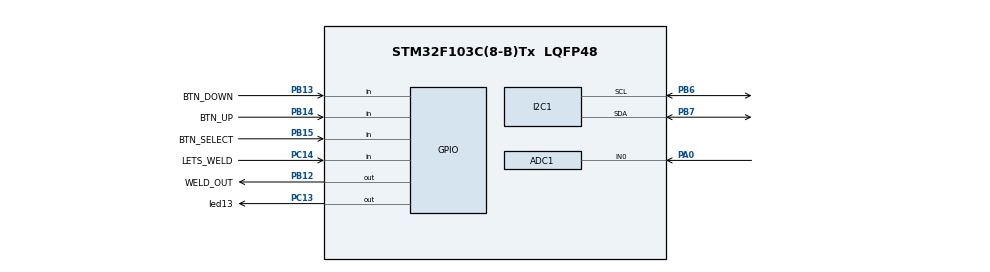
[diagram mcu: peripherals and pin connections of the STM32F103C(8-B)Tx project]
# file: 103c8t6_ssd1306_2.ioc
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ADC1.Channel-0\#ChannelRegularConversion=ADC_CHANNEL_0
ADC1.ContinuousConvMode=ENABLE
ADC1.NbrOfConversionFlag=1
ADC1.Rank-0\#ChannelRegularConversion=1
ADC1.SamplingTime-0\#ChannelRegularConversion=ADC_SAMPLETIME_1CYCLE_5
ADC1.master=1
I2C1.I2C_Mode=I2C_Fast
Mcu.Family=STM32F1
Mcu.Name=STM32F103C(8-B)Tx
Mcu.Package=LQFP48
NVIC.PriorityGroup=NVIC_PRIORITYGROUP_4
NVIC.TIM2_IRQn=true\:0\:0\:false\:false\:true\:true\:true
PA0-WKUP.Signal=ADCx_IN0
PA13.Mode=Serial_Wire
PA13.Signal=SYS_JTMS-SWDIO
PA14.Mode=Serial_Wire
PA14.Signal=SYS_JTCK-SWCLK
PB12.GPIO_Label=WELD_OUT
PB12.Signal=GPIO_Output
PB13.GPIO_Label=BTN_DOWN
PB13.GPIO_PuPd=GPIO_PULLUP
PB13.Signal=GPIO_Input
PB14.GPIO_Label=BTN_UP
PB14.GPIO_PuPd=GPIO_PULLUP
PB14.Signal=GPIO_Input
PB15.GPIO_Label=BTN_SELECT
PB15.GPIO_PuPd=GPIO_PULLUP
PB15.Signal=GPIO_Input
PB6.Mode=I2C
PB6.Signal=I2C1_SCL
PB7.Mode=I2C
PB7.Signal=I2C1_SDA
PC13-TAMPER-RTC.GPIO_Label=led13
PC13-TAMPER-RTC.Signal=GPIO_Output
PC14-OSC32_IN.GPIO_Label=LETS_WELD
PC14-OSC32_IN.GPIO_PuPd=GPIO_PULLUP
PC14-OSC32_IN.Signal=GPIO_Input
PD0-OSC_IN.Mode=HSE-External-Oscillator
PD0-OSC_IN.Signal=RCC_OSC_IN
PD1-OSC_OUT.Mode=HSE-External-Oscillator
PD1-OSC_OUT.Signal=RCC_OSC_OUT
ProjectManager.HeapSize=0x200
ProjectManager.StackSize=0x400
ProjectManager.TargetToolchain=STM32CubeIDE
RCC.APB1Freq_Value=8000000
RCC.APB2Freq_Value=8000000
SH.ADCx_IN0.0=ADC1_IN0,IN0
TIM2.Period=65535
TIM2.Prescaler=71
VP_TIM2_VS_ClockSourceINT.Mode=Internal
board=custom

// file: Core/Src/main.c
/* USER CODE BEGIN Header */
/**
  ******************************************************************************
  * @file           : main.c
  * @brief          : Main program body
  ******************************************************************************
  * @attention
  *
  * <h2><center>&copy; Copyright (c) 2022 STMicroelectronics.
  * All rights reserved.</center></h2>
  *
  * This software component is licensed by ST under BSD 3-Clause license,
  * the "License"; You may not use this file except in compliance with the
  * License. You may obtain a copy of the License at:
  *                        opensource.org/licenses/BSD-3-Clause
  *
  ******************************************************************************
  ******************************************************************************
  ******************************************************************************
  ******************OK! работает************************************************
  ******************************************************************************
  ******************************************************************************
  ******************************************************************************
  */
/* USER CODE END Header */
#include "main.h"

/* USER CODE BEGIN Includes */
#include "ssd1306.h"
#include "fonts.h"
/* USER CODE END Includes */

/* USER CODE BEGIN PD */
#define DWT_CONTROL *(volatile unsigned long *)0xE0001000
#define SCB_DEMCR   *(volatile unsigned long *)0xE000EDFC
/* USER CODE END PD */

ADC_HandleTypeDef hadc1;

I2C_HandleTypeDef hi2c1;

TIM_HandleTypeDef htim2;

/* USER CODE BEGIN PV */
// кнопки
int8_t Select = 0;
int8_t position = 4;
int8_t value_up = 0;
int8_t value_down = 0;
int8_t letsWelding = 0;
uint32_t time_key_press = 0;// time_key_press = HAL_GetTick(); (HAL_GetTick() - time_key1_press) > 300
int8_t correction = 14; // поправка, причина в стартовой задержке в 14 микросекунд в delay_microseconds(), я не знаб почему

int voltage = 12;
char str[5];
int firstPulse = 400;
int pause = 3200;
int secondPulse = 1400;
/* USER CODE END PV */

void SystemClock_Config(void);
static void MX_GPIO_Init(void);
static void MX_I2C1_Init(void);
static void MX_ADC1_Init(void);
static void MX_TIM2_Init(void);

/* USER CODE BEGIN 0 */
void usDelay(uint16_t useconds)
{
  __HAL_TIM_SET_COUNTER(&htim2, 0);
  while(__HAL_TIM_GET_COUNTER(&htim2) < useconds);
}

void DWT_Init(void) // OK
{
    SCB_DEMCR |= CoreDebug_DEMCR_TRCENA_Msk; // разрешаем использовать счётчик
	DWT_CONTROL |= DWT_CTRL_CYCCNTENA_Msk;   // запускаем счётчик
}

void blinkLED(int count)
{
	for(int i=0; i<count; i++)
	{
		HAL_GPIO_WritePin(led13_GPIO_Port, led13_Pin, GPIO_PIN_RESET);
		HAL_Delay(100);
		HAL_GPIO_WritePin(led13_GPIO_Port, led13_Pin, GPIO_PIN_SET);
		HAL_Delay(100);
	}
	HAL_Delay(300);
}

void delay_microseconds(uint32_t usec)
{
    uint32_t us_count_tic =  usec * (SystemCoreClock / 1000000);
    DWT->CYCCNT = 0U; // обнуляем счётчик
    while(DWT->CYCCNT < us_count_tic); //{blinkLED(1);}
}

void test_uSecondDelayFunc(void)
{
	int i=0;
	  while(1)
	  {
		HAL_GPIO_TogglePin(WELD_OUT_GPIO_Port, WELD_OUT_Pin);
		//usDelay(40); // 10->100 uSec 40->370 uSec
		delay_microseconds(100); // 1->14uSec 10->24uSec 100->114uSec
		i+=1;
		if(i>100000) break;
	  }
}

void updateDelays(int inc)
{
	if(position==1) firstPulse = firstPulse + inc;
	if(position==2) pause = pause + inc;
	if(position==3) secondPulse = secondPulse + inc;
}

void keyboard(void)
{
	if(Select==0 && HAL_GPIO_ReadPin(GPIOB, BTN_SELECT_Pin)==GPIO_PIN_RESET)
	{
		time_key_press = HAL_GetTick();
		Select=1;
		if(position==4) position=1;
		else position++;
	}
	if(Select>0 && (HAL_GetTick() - time_key_press) > 300) Select=0;

	if(value_up==0 && HAL_GPIO_ReadPin(GPIOB, BTN_UP_Pin)==GPIO_PIN_RESET)
	{
		time_key_press = HAL_GetTick();
		value_up=1;
		updateDelays(100);
	}
	if(value_up>0 && (HAL_GetTick() - time_key_press) > 300) value_up=0;

	if(value_down==0 && HAL_GPIO_ReadPin(GPIOB, BTN_DOWN_Pin)==GPIO_PIN_RESET)
	{
		time_key_press = HAL_GetTick();
		value_down=1;
		updateDelays(-100);
	}
	if(value_down>0 && (HAL_GetTick() - time_key_press) > 300) value_down=0;

	if(letsWelding==0 && HAL_GPIO_ReadPin(LETS_WELD_GPIO_Port, LETS_WELD_Pin)==GPIO_PIN_RESET)
	{
		time_key_press = HAL_GetTick();
		letsWelding=1;
	}
	if(letsWelding>0 && (HAL_GetTick() - time_key_press) > 300) letsWelding=0;
}

/* USER CODE END 0 */

int main(void)
{

  /* MCU Configuration--------------------------------------------------------*/

  /* Reset of all peripherals, Initializes the Flash interface and the Systick. */
  HAL_Init();

  /* Configure the system clock */
  SystemClock_Config();

  /* Initialize all configured peripherals */
  MX_GPIO_Init();
  MX_I2C1_Init();
  MX_ADC1_Init();
  MX_TIM2_Init();
  /* USER CODE BEGIN 2 */
  SSD1306_Init();

  SSD1306_GotoXY(0,0);
  SSD1306_Puts ("Welding", &Font_11x18, 1);
  SSD1306_GotoXY(10,30);
  SSD1306_Puts ("Machine", &Font_11x18, 1);
  SSD1306_UpdateScreen();
  HAL_Delay(1500);
  blinkLED(1);

  //test_uSecondDelayFunc();

  SSD1306_Clear();

  HAL_TIM_Base_Start_IT(&htim2);

  /* USER CODE END 2 */

  /* Infinite loop */
  /* USER CODE BEGIN WHILE */
  while (1)
  {
	  keyboard();

	  HAL_ADC_Start(&hadc1);
	  HAL_ADC_PollForConversion(&hadc1, 100);
	  voltage = HAL_ADC_GetValue(&hadc1); // "T: %d.%d ->%d %d", temperatura/10, temperatura-(temperatura/10)*10,
	  int volH = voltage*0.0041;
	  int volL = (voltage*0.0041-volH)*10;
	  HAL_ADC_Stop(&hadc1);

	  if(Select==1 || value_up==1 || value_down==1) SSD1306_Clear();

	  SSD1306_GotoXY(1,0);
	  if(position==1) SSD1306_Puts (".", &Font_7x10, 1);
	  SSD1306_Puts ("first ", &Font_7x10, 1);
	  sprintf((char *)str, "%d", firstPulse);
      SSD1306_Puts (str, &Font_11x18, 1);
      SSD1306_Puts (" us", &Font_7x10, 1);

      SSD1306_GotoXY(1,15);
      if(position==2) SSD1306_Puts (".", &Font_7x10, 1);
      SSD1306_Puts ("pause ", &Font_7x10, 1);
      sprintf((char *)str, "%d", pause);
      SSD1306_Puts (str, &Font_11x18, 1);
      SSD1306_Puts (" us", &Font_7x10, 1);

      SSD1306_GotoXY(1,30);
      if(position==3) SSD1306_Puts (".", &Font_7x10, 1);
      SSD1306_Puts ("second ", &Font_7x10, 1);
      sprintf((char *)str, "%d", secondPulse);
      SSD1306_Puts (str, &Font_11x18, 1);
      SSD1306_Puts (" us", &Font_7x10, 1);

      SSD1306_GotoXY(1,45);
      if(position==4) SSD1306_Puts (".", &Font_7x10, 1);
      SSD1306_Puts ("voltage ", &Font_7x10, 1);
      sprintf((char *)str, "%d.%d", volH, volL);
      SSD1306_Puts (str, &Font_11x18, 1);
      SSD1306_Puts ("V ", &Font_11x18, 1);

	  SSD1306_UpdateScreen();
	    //HAL_Delay(200);

    /* USER CODE END WHILE */

    /* USER CODE BEGIN 3 */
	if(letsWelding==1)
	{
		blinkLED(1);
		HAL_GPIO_WritePin(WELD_OUT_GPIO_Port, WELD_OUT_Pin, GPIO_PIN_SET);
		blinkLED(2);
	    delay_microseconds(firstPulse-correction); // 	1->14uSec 10->24uSec 100->114uSec
	    blinkLED(3);
	    HAL_GPIO_WritePin(WELD_OUT_GPIO_Port, WELD_OUT_Pin, GPIO_PIN_RESET);
	    delay_microseconds(pause-correction);
	    HAL_GPIO_WritePin(WELD_OUT_GPIO_Port, WELD_OUT_Pin, GPIO_PIN_SET);
	    delay_microseconds(secondPulse-correction);
	    HAL_GPIO_WritePin(WELD_OUT_GPIO_Port, WELD_OUT_Pin, GPIO_PIN_RESET);
	    HAL_Delay(500);
	    letsWelding=0;
	}
	    //HAL_GPIO_WritePin(WELD_OUT_GPIO_Port, WELD_OUT_Pin, GPIO_PIN_SET); // WELD_OUT_GPIO_Port, WELD_OUT_Pin, GPIO_PIN_RESET

	    //HAL_TIM_PeriodElapsedCallback(&htim2);
	  //test_uSecondDelayFunc();
  }
  /* USER CODE END 3 */
}

void SystemClock_Config(void)
{
  RCC_OscInitTypeDef RCC_OscInitStruct = {0};
  RCC_ClkInitTypeDef RCC_ClkInitStruct = {0};
  RCC_PeriphCLKInitTypeDef PeriphClkInit = {0};

  /** Initializes the RCC Oscillators according to the specified parameters
  * in the RCC_OscInitTypeDef structure.
  */
  RCC_OscInitStruct.OscillatorType = RCC_OSCILLATORTYPE_HSI;
  RCC_OscInitStruct.HSIState = RCC_HSI_ON;
  RCC_OscInitStruct.HSICalibrationValue = RCC_HSICALIBRATION_DEFAULT;
  RCC_OscInitStruct.PLL.PLLState = RCC_PLL_NONE;
  if (HAL_RCC_OscConfig(&RCC_OscInitStruct) != HAL_OK)
  {
    Error_Handler();
  }
  /** Initializes the CPU, AHB and APB buses clocks
  */
  RCC_ClkInitStruct.ClockType = RCC_CLOCKTYPE_HCLK|RCC_CLOCKTYPE_SYSCLK
                              |RCC_CLOCKTYPE_PCLK1|RCC_CLOCKTYPE_PCLK2;
  RCC_ClkInitStruct.SYSCLKSource = RCC_SYSCLKSOURCE_HSI;
  RCC_ClkInitStruct.AHBCLKDivider = RCC_SYSCLK_DIV1;
  RCC_ClkInitStruct.APB1CLKDivider = RCC_HCLK_DIV1;
  RCC_ClkInitStruct.APB2CLKDivider = RCC_HCLK_DIV1;

  if (HAL_RCC_ClockConfig(&RCC_ClkInitStruct, FLASH_LATENCY_0) != HAL_OK)
  {
    Error_Handler();
  }
  PeriphClkInit.PeriphClockSelection = RCC_PERIPHCLK_ADC;
  PeriphClkInit.AdcClockSelection = RCC_ADCPCLK2_DIV2;
  if (HAL_RCCEx_PeriphCLKConfig(&PeriphClkInit) != HAL_OK)
  {
    Error_Handler();
  }
}

static void MX_ADC1_Init(void)
{

  ADC_ChannelConfTypeDef sConfig = {0};

  /** Common config
  */
  hadc1.Instance = ADC1;
  hadc1.Init.ScanConvMode = ADC_SCAN_DISABLE;
  hadc1.Init.ContinuousConvMode = ENABLE;
  hadc1.Init.DiscontinuousConvMode = DISABLE;
  hadc1.Init.ExternalTrigConv = ADC_SOFTWARE_START;
  hadc1.Init.DataAlign = ADC_DATAALIGN_RIGHT;
  hadc1.Init.NbrOfConversion = 1;
  if (HAL_ADC_Init(&hadc1) != HAL_OK)
  {
    Error_Handler();
  }
  /** Configure Regular Channel
  */
  sConfig.Channel = ADC_CHANNEL_0;
  sConfig.Rank = ADC_REGULAR_RANK_1;
  sConfig.SamplingTime = ADC_SAMPLETIME_1CYCLE_5;
  if (HAL_ADC_ConfigChannel(&hadc1, &sConfig) != HAL_OK)
  {
    Error_Handler();
  }

}

static void MX_I2C1_Init(void)
{

  hi2c1.Instance = I2C1;
  hi2c1.Init.ClockSpeed = 400000;
  hi2c1.Init.DutyCycle = I2C_DUTYCYCLE_2;
  hi2c1.Init.OwnAddress1 = 0;
  hi2c1.Init.AddressingMode = I2C_ADDRESSINGMODE_7BIT;
  hi2c1.Init.DualAddressMode = I2C_DUALADDRESS_DISABLE;
  hi2c1.Init.OwnAddress2 = 0;
  hi2c1.Init.GeneralCallMode = I2C_GENERALCALL_DISABLE;
  hi2c1.Init.NoStretchMode = I2C_NOSTRETCH_DISABLE;
  if (HAL_I2C_Init(&hi2c1) != HAL_OK)
  {
    Error_Handler();
  }

}

static void MX_TIM2_Init(void)
{

  TIM_ClockConfigTypeDef sClockSourceConfig = {0};
  TIM_MasterConfigTypeDef sMasterConfig = {0};

  htim2.Instance = TIM2;
  htim2.Init.Prescaler = 71;
  htim2.Init.CounterMode = TIM_COUNTERMODE_UP;
  htim2.Init.Period = 65535;
  htim2.Init.ClockDivision = TIM_CLOCKDIVISION_DIV1;
  htim2.Init.AutoReloadPreload = TIM_AUTORELOAD_PRELOAD_DISABLE;
  if (HAL_TIM_Base_Init(&htim2) != HAL_OK)
  {
    Error_Handler();
  }
  sClockSourceConfig.ClockSource = TIM_CLOCKSOURCE_INTERNAL;
  if (HAL_TIM_ConfigClockSource(&htim2, &sClockSourceConfig) != HAL_OK)
  {
    Error_Handler();
  }
  sMasterConfig.MasterOutputTrigger = TIM_TRGO_RESET;
  sMasterConfig.MasterSlaveMode = TIM_MASTERSLAVEMODE_DISABLE;
  if (HAL_TIMEx_MasterConfigSynchronization(&htim2, &sMasterConfig) != HAL_OK)
  {
    Error_Handler();
  }

}

static void MX_GPIO_Init(void)
{
  GPIO_InitTypeDef GPIO_InitStruct = {0};

  /* GPIO Ports Clock Enable */
  __HAL_RCC_GPIOC_CLK_ENABLE();
  __HAL_RCC_GPIOD_CLK_ENABLE();
  __HAL_RCC_GPIOA_CLK_ENABLE();
  __HAL_RCC_GPIOB_CLK_ENABLE();

  /*Configure GPIO pin Output Level */
  HAL_GPIO_WritePin(led13_GPIO_Port, led13_Pin, GPIO_PIN_SET);

  /*Configure GPIO pin Output Level */
  HAL_GPIO_WritePin(WELD_OUT_GPIO_Port, WELD_OUT_Pin, GPIO_PIN_RESET);

  /*Configure GPIO pin : led13_Pin */
  GPIO_InitStruct.Pin = led13_Pin;
  GPIO_InitStruct.Mode = GPIO_MODE_OUTPUT_PP;
  GPIO_InitStruct.Pull = GPIO_NOPULL;
  GPIO_InitStruct.Speed = GPIO_SPEED_FREQ_LOW;
  HAL_GPIO_Init(led13_GPIO_Port, &GPIO_InitStruct);

  /*Configure GPIO pin : LETS_WELD_Pin */
  GPIO_InitStruct.Pin = LETS_WELD_Pin;
  GPIO_InitStruct.Mode = GPIO_MODE_INPUT;
  GPIO_InitStruct.Pull = GPIO_PULLUP;
  HAL_GPIO_Init(LETS_WELD_GPIO_Port, &GPIO_InitStruct);

  /*Configure GPIO pin : WELD_OUT_Pin */
  GPIO_InitStruct.Pin = WELD_OUT_Pin;
  GPIO_InitStruct.Mode = GPIO_MODE_OUTPUT_PP;
  GPIO_InitStruct.Pull = GPIO_NOPULL;
  GPIO_InitStruct.Speed = GPIO_SPEED_FREQ_LOW;
  HAL_GPIO_Init(WELD_OUT_GPIO_Port, &GPIO_InitStruct);

  /*Configure GPIO pins : BTN_DOWN_Pin BTN_UP_Pin BTN_SELECT_Pin */
  GPIO_InitStruct.Pin = BTN_DOWN_Pin|BTN_UP_Pin|BTN_SELECT_Pin;
  GPIO_InitStruct.Mode = GPIO_MODE_INPUT;
  GPIO_InitStruct.Pull = GPIO_PULLUP;
  HAL_GPIO_Init(GPIOB, &GPIO_InitStruct);

}

/* USER CODE BEGIN 4 */
void HAL_TIM_PeriodElapsedCallback(TIM_HandleTypeDef *htim)
{
        if(htim->Instance == TIM2) //check if the interrupt comes from TIM1
        {
                //HAL_GPIO_TogglePin(led13_GPIO_Port, led13_Pin);
        }
}
/* USER CODE END 4 */

void Error_Handler(void)
{
  __disable_irq();
  while (1)
  {
  }
}

/************************ (C) COPYRIGHT STMicroelectronics *****END OF FILE****/
